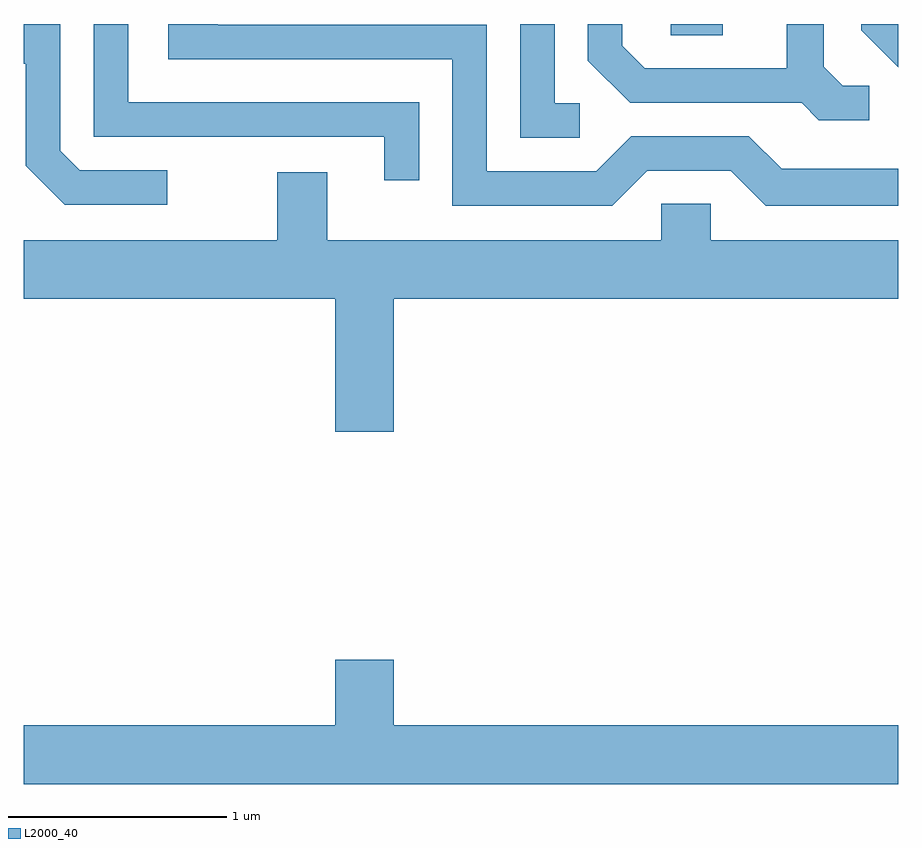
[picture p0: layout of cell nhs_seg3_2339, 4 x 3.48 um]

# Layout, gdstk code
import gdstk
lib = gdstk.Library(unit=1e-6, precision=1e-09)
def R(c, l, rs):  # rectangles x0, y0, x1, y1
    for r in rs: c.add(gdstk.rectangle(r[:2], r[2:], *l))
def P(c, l, *ps):  # polygons
    for p in ps: c.add(gdstk.Polygon(p, *l))
L2000_40 = (2000, 40)

nhs_seg3_2339 = lib.new_cell('nhs_seg3_2339')
R(nhs_seg3_2339, L2000_40, [(256.571,1173.841,256.809,1173.892)])
P(nhs_seg3_2339, L2000_40, [(257.478,1173.609),(257.356,1173.609),(257.269,1173.697),(257.269,1173.892),(257.101,1173.892),(257.101,1173.689),(256.452,1173.689),(256.349,1173.792),(256.349,1173.892),(256.191,1173.892),(256.191,1173.724),(256.384,1173.531),(257.169,1173.531),(257.248,1173.451),(257.478,1173.451)],
  [(255.419,1173.534),(254.089,1173.534),(254.089,1173.892),(253.931,1173.892),(253.931,1173.376),(255.261,1173.376),(255.261,1173.178),(255.419,1173.178)],
  [(256.153,1173.529),(256.039,1173.529),(256.039,1173.892),(255.881,1173.892),(255.881,1173.371),(256.153,1173.371)],
  [(256.462,1173.221),(256.844,1173.221),(257.004,1173.061),(257.611,1173.061),(257.611,1173.229),(257.077,1173.229),(256.927,1173.379),(256.389,1173.379),(256.229,1173.219),(255.729,1173.219),(255.729,1173.889),(254.499,1173.889),(254.499,1173.892),(254.271,1173.892),(254.271,1173.731),(255.571,1173.731),(255.571,1173.061),(256.302,1173.061)],
  [(257.611,1173.892),(257.441,1173.892),(257.441,1173.864),(257.611,1173.694)],
  [(254.268,1173.224),(253.867,1173.224),(253.779,1173.312),(253.779,1173.892),(253.611,1173.892),(253.611,1173.711),(253.621,1173.711),(253.621,1173.244),(253.799,1173.066),(254.268,1173.066)],
  [(255.304,1172.636),(257.611,1172.636),(257.611,1172.904),(256.754,1172.904),(256.754,1173.069),(256.526,1173.069),(256.526,1172.904),(254.999,1172.904),(254.999,1173.214),(254.771,1173.214),(254.771,1172.904),(253.611,1172.904),(253.611,1172.636),(255.036,1172.636),(255.036,1172.026),(255.304,1172.026)],
  [(257.611,1170.684),(255.304,1170.684),(255.304,1170.984),(255.036,1170.984),(255.036,1170.684),(253.611,1170.684),(253.611,1170.416),(257.611,1170.416)])

lib.write_gds('nhs_seg3_2339.gds')
